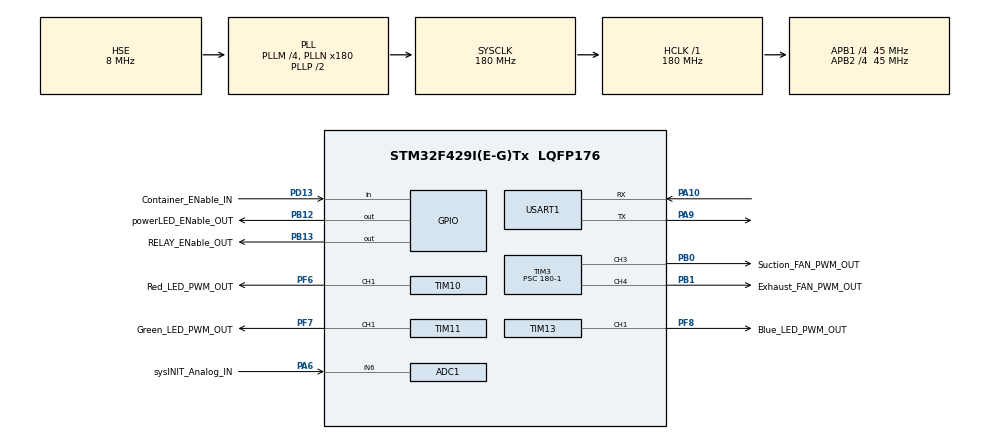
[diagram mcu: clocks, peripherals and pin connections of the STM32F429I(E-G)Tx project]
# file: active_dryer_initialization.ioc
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Mcu.Family=STM32F4
RCC.CortexFreq_Value=180000000
RCC.PWREXT_OverDrive=PWREXT_OverDrive_ACTIVATED
PA6.GPIO_Label=sysINIT_Analog_IN
PB0.GPIO_Label=Suction_FAN_PWM_OUT
PB13.GPIO_Label=RELAY_ENable_OUT
PB13.Signal=GPIO_Output
TIM3.Channel-PWM\ Generation4\ CH4=TIM_CHANNEL_4
TIM13.AutoReloadPreload=TIM_AUTORELOAD_PRELOAD_ENABLE
PF6.GPIO_Label=Red_LED_PWM_OUT
SH.S_TIM13_CH1.0=TIM13_CH1,PWM Generation1 CH1
RCC.SYSCLKSource=RCC_SYSCLKSOURCE_PLLCLK
ProjectManager.StackSize=0x400
PD13.Signal=GPIO_Input
PF7.Signal=S_TIM11_CH1
PH0/OSC_IN.Mode=HSE-External-Oscillator
RCC.HCLKFreq_Value=180000000
RCC.APB2TimFreq_Value=90000000
TIM3.Period=1000-1
VP_TIM10_VS_ClockSourceINT.Mode=Enable_Timer
PB12.PinState=GPIO_PIN_RESET
PH1/OSC_OUT.Signal=RCC_OSC_OUT
RCC.AHBFreq_Value=180000000
TIM3.Pulse-PWM\ Generation3\ CH3=0
TIM10.AutoReloadPreload=TIM_AUTORELOAD_PRELOAD_ENABLE
RCC.HSE_VALUE=8000000
TIM13.Pulse=0
TIM10.Channel=TIM_CHANNEL_1
PB12.GPIO_Label=powerLED_ENable_OUT
PF7.GPIO_Label=Green_LED_PWM_OUT
TIM3.Prescaler=180-1
PB1.GPIO_Label=Exhaust_FAN_PWM_OUT
SH.SharedAnalog_PA6.0=GPIO_Analog
SH.SharedAnalog_PA6.1=ADC1_IN6,IN6
PH1/OSC_OUT.Mode=HSE-External-Oscillator
PD13.GPIO_Label=Container_ENable_IN
Mcu.Package=LQFP176
PA6.Signal=SharedAnalog_PA6
PB1.Signal=S_TIM3_CH4
SH.S_TIM10_CH1.0=TIM10_CH1,PWM Generation1 CH1
PA10.Signal=USART1_RX
PF8.Signal=S_TIM13_CH1
RCC.APB2CLKDivider=RCC_HCLK_DIV4
RCC.APB1TimFreq_Value=90000000
RCC.PWREXT_OverDrive-AdvancedSettings=PWREXT_OverDrive_ACTIVATED
SH.S_TIM11_CH1.0=TIM11_CH1,PWM Generation1 CH1
VP_TIM3_VS_ClockSourceINT.Mode=Internal
RCC.PLLSourceVirtual=RCC_PLLSOURCE_HSE
TIM10.Prescaler=180-1
PA10.Mode=Asynchronous
TIM3.AutoReloadPreload=TIM_AUTORELOAD_PRELOAD_ENABLE
TIM11.Prescaler=180-1
RCC.APB1CLKDivider=RCC_HCLK_DIV4
SH.S_TIM3_CH3.0=TIM3_CH3,PWM Generation3 CH3
VP_TIM11_VS_ClockSourceINT.Mode=Enable_Timer
PF8.GPIO_Label=Blue_LED_PWM_OUT
TIM3.Channel-PWM\ Generation3\ CH3=TIM_CHANNEL_3
PA9.Mode=Asynchronous
PF6.Signal=S_TIM10_CH1
TIM13.Channel=TIM_CHANNEL_1
ProjectManager.TargetToolchain=STM32CubeIDE
PA9.Signal=USART1_TX
ADC1.Channel-1\#ChannelRegularConversion=ADC_CHANNEL_6
RCC.LSE_VALUE=32768
TIM11.Pulse=0
board=custom
RCC.VCOOutputFreq_Value=360000000
TIM13.Period=1000-1
TIM11.Period=1000-1
PB13.GPIO_PuPd=GPIO_NOPULL
TIM10.Period=1000-1
PH0/OSC_IN.Signal=RCC_OSC_IN
VP_TIM13_VS_ClockSourceINT.Mode=Enable_Timer
RCC.APB2Freq_Value=45000000
TIM10.Pulse=0
TIM13.Prescaler=180-1
Mcu.Name=STM32F429I(E-G)Tx
RCC.48MHZClocksFreq_Value=90000000
ADC1.SamplingTime-1\#ChannelRegularConversion=ADC_SAMPLETIME_480CYCLES
RCC.SYSCLKFreq_VALUE=180000000
ADC1.master=1
USART1.VirtualMode=VM_ASYNC
ADC1.Rank-1\#ChannelRegularConversion=1
ProjectManager.HeapSize=0x200
RCC.HSI_VALUE=16000000
TIM11.AutoReloadPreload=TIM_AUTORELOAD_PRELOAD_ENABLE
NVIC.PriorityGroup=NVIC_PRIORITYGROUP_4
ADC1.NbrOfConversionFlag=1
RCC.PLLM=4
RCC.PLLN=180
TIM11.Channel=TIM_CHANNEL_1
PB12.GPIO_PuPd=GPIO_NOPULL
RCC.APB1Freq_Value=45000000
PB0.Signal=S_TIM3_CH3
TIM3.Pulse-PWM\ Generation4\ CH4=0
PB12.Signal=GPIO_Output
SH.S_TIM3_CH4.0=TIM3_CH4,PWM Generation4 CH4

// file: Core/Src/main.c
/* USER CODE BEGIN Header */
/**
 ******************************************************************************
 * @file           : main.c
 * @brief          : Main program body
 ******************************************************************************
 * @attention
 *
 * <h2><center>&copy; Copyright (c) 2021 STMicroelectronics.
 * All rights reserved.</center></h2>
 *
 * This software component is licensed by ST under BSD 3-Clause license,
 * the "License"; You may not use this file except in compliance with the
 * License. You may obtain a copy of the License at:
 *                        opensource.org/licenses/BSD-3-Clause
 *
 ******************************************************************************
 */
/* USER CODE END Header */
#include "main.h"

/* USER CODE BEGIN Includes */
#include <stdio.h>
/* USER CODE END Includes */

ADC_HandleTypeDef hadc1;

TIM_HandleTypeDef htim3;
TIM_HandleTypeDef htim10;
TIM_HandleTypeDef htim11;
TIM_HandleTypeDef htim13;

UART_HandleTypeDef huart1;

/* USER CODE BEGIN PV */
#define FanHandle &htim3
#define RedLedHandle &htim10
#define GreenLedHandle &htim11
#define BlueLedHandle &htim13

char msg[50];
uint8_t size;
uint8_t val;
/* USER CODE END PV */

void SystemClock_Config(void);
static void MX_GPIO_Init(void);
static void MX_ADC1_Init(void);
static void MX_USART1_UART_Init(void);
static void MX_TIM3_Init(void);
static void MX_TIM10_Init(void);
static void MX_TIM11_Init(void);
static void MX_TIM13_Init(void);

/* USER CODE BEGIN 0 */
void Enter_Standby_Mode() {
	//Enter standby mode
	/*clear the WU flag   */
	__HAL_PWR_CLEAR_FLAG(PWR_FLAG_WU);

	//logging the message
	size = sprintf(msg, "Low power standby Mode is On \n\r");
	HAL_UART_Transmit(&huart1, (uint8_t*) msg, size, 1000);

	//finally enter standby mode
	HAL_PWR_EnterSTANDBYMode();
}

/* USER CODE END 0 */

int main(void)
{

  /* MCU Configuration--------------------------------------------------------*/

  /* Reset of all peripherals, Initializes the Flash interface and the Systick. */
  HAL_Init();

  /* Configure the system clock */
  SystemClock_Config();

  /* Initialize all configured peripherals */
  MX_GPIO_Init();
  MX_ADC1_Init();
  MX_USART1_UART_Init();
  MX_TIM3_Init();
  MX_TIM10_Init();
  MX_TIM11_Init();
  MX_TIM13_Init();
  /* USER CODE BEGIN 2 */

	//logging the message
	size = sprintf(msg, "Checking Analog Pin \n\r");
	HAL_UART_Transmit(&huart1, (uint8_t*) msg, size, 1000);

	HAL_ADC_Start(&hadc1);
	HAL_ADC_PollForConversion(&hadc1, 20);
	val = HAL_ADC_GetValue(&hadc1);
	size = sprintf(msg, "The Value is = %u \n\r",val);
	HAL_UART_Transmit(&huart1, (uint8_t*) msg, size, 1000);

	//check if the SB Flag is set//
	if (val > 30) {
		if (__HAL_PWR_GET_FLAG(PWR_FLAG_SB) == 1) {
			//clear the flag
			__HAL_PWR_CLEAR_FLAG(PWR_FLAG_SB);

			//logging the message
			size = sprintf(msg, "Wakeup from the standby Mode \n\r");
			HAL_UART_Transmit(&huart1, (uint8_t*) msg, size, 1000);

			//Enable PowerLed
			HAL_GPIO_WritePin( powerLED_ENable_OUT_GPIO_Port, powerLED_ENable_OUT_Pin, 1);

			//Initalize timers
			size = sprintf(msg, "Initializing Timers \n\r");
			HAL_UART_Transmit(&huart1, (uint8_t*) msg, size, 1000);

			HAL_TIM_PWM_Start(RedLedHandle, TIM_CHANNEL_1);
			HAL_TIM_PWM_Start(BlueLedHandle, TIM_CHANNEL_1);
			HAL_TIM_PWM_Start(GreenLedHandle, TIM_CHANNEL_1);

			//initialize fan timers
			HAL_TIM_PWM_Start(FanHandle, TIM_CHANNEL_3);
			HAL_TIM_PWM_Start(FanHandle, TIM_CHANNEL_4);
		}

		else {
			Enter_Standby_Mode();

		}
	}

  /* USER CODE END 2 */

  /* Infinite loop */
	while (1) {

    /* USER CODE BEGIN 3 */

		//Orange
		size = sprintf(msg, "Drying Mode -> Orange light,Fan ON\n\r");
		HAL_UART_Transmit(&huart1, (uint8_t*) msg, size, 1000);

		__HAL_TIM_SET_COMPARE(RedLedHandle,TIM_CHANNEL_1,900);
		__HAL_TIM_SET_COMPARE(GreenLedHandle,TIM_CHANNEL_1,646);
		__HAL_TIM_SET_COMPARE(BlueLedHandle,TIM_CHANNEL_1,0);

		__HAL_TIM_SET_COMPARE(FanHandle,TIM_CHANNEL_3,999);
		__HAL_TIM_SET_COMPARE(FanHandle,TIM_CHANNEL_4,999);
		HAL_Delay(5000);

		//Green
		size = sprintf(msg, "Standby Mode->Green light, Fan ON\n\r");
		HAL_UART_Transmit(&huart1, (uint8_t*) msg, size, 1000);

		__HAL_TIM_SET_COMPARE(RedLedHandle,TIM_CHANNEL_1,0);
		__HAL_TIM_SET_COMPARE(GreenLedHandle,TIM_CHANNEL_1,999);
		__HAL_TIM_SET_COMPARE(BlueLedHandle,TIM_CHANNEL_1,0);

		__HAL_TIM_SET_COMPARE(FanHandle,TIM_CHANNEL_3,999);
		__HAL_TIM_SET_COMPARE(FanHandle,TIM_CHANNEL_4,999);
		HAL_Delay(5000);

		//Blue
		size = sprintf(msg, "Non-Drying Mode->Blue light, Fan OFF\n\r");
		HAL_UART_Transmit(&huart1, (uint8_t*) msg, size, 1000);

		__HAL_TIM_SET_COMPARE(RedLedHandle,TIM_CHANNEL_1,0);
		__HAL_TIM_SET_COMPARE(GreenLedHandle,TIM_CHANNEL_1,0);
		__HAL_TIM_SET_COMPARE(BlueLedHandle,TIM_CHANNEL_1,999);

		__HAL_TIM_SET_COMPARE(FanHandle,TIM_CHANNEL_3,0);
		__HAL_TIM_SET_COMPARE(FanHandle,TIM_CHANNEL_4,0);
		HAL_Delay(5000);

	}
  /* USER CODE END 3 */
}

void SystemClock_Config(void)
{
  RCC_OscInitTypeDef RCC_OscInitStruct = {0};
  RCC_ClkInitTypeDef RCC_ClkInitStruct = {0};

  /** Configure the main internal regulator output voltage
  */
  __HAL_RCC_PWR_CLK_ENABLE();
  __HAL_PWR_VOLTAGESCALING_CONFIG(PWR_REGULATOR_VOLTAGE_SCALE1);
  /** Initializes the RCC Oscillators according to the specified parameters
  * in the RCC_OscInitTypeDef structure.
  */
  RCC_OscInitStruct.OscillatorType = RCC_OSCILLATORTYPE_HSE;
  RCC_OscInitStruct.HSEState = RCC_HSE_ON;
  RCC_OscInitStruct.PLL.PLLState = RCC_PLL_ON;
  RCC_OscInitStruct.PLL.PLLSource = RCC_PLLSOURCE_HSE;
  RCC_OscInitStruct.PLL.PLLM = 4;
  RCC_OscInitStruct.PLL.PLLN = 180;
  RCC_OscInitStruct.PLL.PLLP = RCC_PLLP_DIV2;
  RCC_OscInitStruct.PLL.PLLQ = 4;
  if (HAL_RCC_OscConfig(&RCC_OscInitStruct) != HAL_OK)
  {
    Error_Handler();
  }
  /** Activate the Over-Drive mode
  */
  if (HAL_PWREx_EnableOverDrive() != HAL_OK)
  {
    Error_Handler();
  }
  /** Initializes the CPU, AHB and APB buses clocks
  */
  RCC_ClkInitStruct.ClockType = RCC_CLOCKTYPE_HCLK|RCC_CLOCKTYPE_SYSCLK
                              |RCC_CLOCKTYPE_PCLK1|RCC_CLOCKTYPE_PCLK2;
  RCC_ClkInitStruct.SYSCLKSource = RCC_SYSCLKSOURCE_PLLCLK;
  RCC_ClkInitStruct.AHBCLKDivider = RCC_SYSCLK_DIV1;
  RCC_ClkInitStruct.APB1CLKDivider = RCC_HCLK_DIV4;
  RCC_ClkInitStruct.APB2CLKDivider = RCC_HCLK_DIV4;

  if (HAL_RCC_ClockConfig(&RCC_ClkInitStruct, FLASH_LATENCY_5) != HAL_OK)
  {
    Error_Handler();
  }
}

static void MX_ADC1_Init(void)
{

  ADC_ChannelConfTypeDef sConfig = {0};

  /** Configure the global features of the ADC (Clock, Resolution, Data Alignment and number of conversion)
  */
  hadc1.Instance = ADC1;
  hadc1.Init.ClockPrescaler = ADC_CLOCK_SYNC_PCLK_DIV2;
  hadc1.Init.Resolution = ADC_RESOLUTION_12B;
  hadc1.Init.ScanConvMode = DISABLE;
  hadc1.Init.ContinuousConvMode = DISABLE;
  hadc1.Init.DiscontinuousConvMode = DISABLE;
  hadc1.Init.ExternalTrigConvEdge = ADC_EXTERNALTRIGCONVEDGE_NONE;
  hadc1.Init.ExternalTrigConv = ADC_SOFTWARE_START;
  hadc1.Init.DataAlign = ADC_DATAALIGN_RIGHT;
  hadc1.Init.NbrOfConversion = 1;
  hadc1.Init.DMAContinuousRequests = DISABLE;
  hadc1.Init.EOCSelection = ADC_EOC_SINGLE_CONV;
  if (HAL_ADC_Init(&hadc1) != HAL_OK)
  {
    Error_Handler();
  }
  /** Configure for the selected ADC regular channel its corresponding rank in the sequencer and its sample time.
  */
  sConfig.Channel = ADC_CHANNEL_6;
  sConfig.Rank = 1;
  sConfig.SamplingTime = ADC_SAMPLETIME_480CYCLES;
  if (HAL_ADC_ConfigChannel(&hadc1, &sConfig) != HAL_OK)
  {
    Error_Handler();
  }

}

static void MX_TIM3_Init(void)
{

  TIM_ClockConfigTypeDef sClockSourceConfig = {0};
  TIM_MasterConfigTypeDef sMasterConfig = {0};
  TIM_OC_InitTypeDef sConfigOC = {0};

  htim3.Instance = TIM3;
  htim3.Init.Prescaler = 180-1;
  htim3.Init.CounterMode = TIM_COUNTERMODE_UP;
  htim3.Init.Period = 1000-1;
  htim3.Init.ClockDivision = TIM_CLOCKDIVISION_DIV1;
  htim3.Init.AutoReloadPreload = TIM_AUTORELOAD_PRELOAD_ENABLE;
  if (HAL_TIM_Base_Init(&htim3) != HAL_OK)
  {
    Error_Handler();
  }
  sClockSourceConfig.ClockSource = TIM_CLOCKSOURCE_INTERNAL;
  if (HAL_TIM_ConfigClockSource(&htim3, &sClockSourceConfig) != HAL_OK)
  {
    Error_Handler();
  }
  if (HAL_TIM_PWM_Init(&htim3) != HAL_OK)
  {
    Error_Handler();
  }
  sMasterConfig.MasterOutputTrigger = TIM_TRGO_RESET;
  sMasterConfig.MasterSlaveMode = TIM_MASTERSLAVEMODE_DISABLE;
  if (HAL_TIMEx_MasterConfigSynchronization(&htim3, &sMasterConfig) != HAL_OK)
  {
    Error_Handler();
  }
  sConfigOC.OCMode = TIM_OCMODE_PWM1;
  sConfigOC.Pulse = 0;
  sConfigOC.OCPolarity = TIM_OCPOLARITY_HIGH;
  sConfigOC.OCFastMode = TIM_OCFAST_DISABLE;
  if (HAL_TIM_PWM_ConfigChannel(&htim3, &sConfigOC, TIM_CHANNEL_3) != HAL_OK)
  {
    Error_Handler();
  }
  if (HAL_TIM_PWM_ConfigChannel(&htim3, &sConfigOC, TIM_CHANNEL_4) != HAL_OK)
  {
    Error_Handler();
  }
  HAL_TIM_MspPostInit(&htim3);

}

static void MX_TIM10_Init(void)
{

  TIM_OC_InitTypeDef sConfigOC = {0};

  htim10.Instance = TIM10;
  htim10.Init.Prescaler = 180-1;
  htim10.Init.CounterMode = TIM_COUNTERMODE_UP;
  htim10.Init.Period = 1000-1;
  htim10.Init.ClockDivision = TIM_CLOCKDIVISION_DIV1;
  htim10.Init.AutoReloadPreload = TIM_AUTORELOAD_PRELOAD_ENABLE;
  if (HAL_TIM_Base_Init(&htim10) != HAL_OK)
  {
    Error_Handler();
  }
  if (HAL_TIM_PWM_Init(&htim10) != HAL_OK)
  {
    Error_Handler();
  }
  sConfigOC.OCMode = TIM_OCMODE_PWM1;
  sConfigOC.Pulse = 0;
  sConfigOC.OCPolarity = TIM_OCPOLARITY_HIGH;
  sConfigOC.OCFastMode = TIM_OCFAST_DISABLE;
  if (HAL_TIM_PWM_ConfigChannel(&htim10, &sConfigOC, TIM_CHANNEL_1) != HAL_OK)
  {
    Error_Handler();
  }
  HAL_TIM_MspPostInit(&htim10);

}

static void MX_TIM11_Init(void)
{

  TIM_OC_InitTypeDef sConfigOC = {0};

  htim11.Instance = TIM11;
  htim11.Init.Prescaler = 180-1;
  htim11.Init.CounterMode = TIM_COUNTERMODE_UP;
  htim11.Init.Period = 1000-1;
  htim11.Init.ClockDivision = TIM_CLOCKDIVISION_DIV1;
  htim11.Init.AutoReloadPreload = TIM_AUTORELOAD_PRELOAD_ENABLE;
  if (HAL_TIM_Base_Init(&htim11) != HAL_OK)
  {
    Error_Handler();
  }
  if (HAL_TIM_PWM_Init(&htim11) != HAL_OK)
  {
    Error_Handler();
  }
  sConfigOC.OCMode = TIM_OCMODE_PWM1;
  sConfigOC.Pulse = 0;
  sConfigOC.OCPolarity = TIM_OCPOLARITY_HIGH;
  sConfigOC.OCFastMode = TIM_OCFAST_DISABLE;
  if (HAL_TIM_PWM_ConfigChannel(&htim11, &sConfigOC, TIM_CHANNEL_1) != HAL_OK)
  {
    Error_Handler();
  }
  HAL_TIM_MspPostInit(&htim11);

}

static void MX_TIM13_Init(void)
{

  TIM_OC_InitTypeDef sConfigOC = {0};

  htim13.Instance = TIM13;
  htim13.Init.Prescaler = 180-1;
  htim13.Init.CounterMode = TIM_COUNTERMODE_UP;
  htim13.Init.Period = 1000-1;
  htim13.Init.ClockDivision = TIM_CLOCKDIVISION_DIV1;
  htim13.Init.AutoReloadPreload = TIM_AUTORELOAD_PRELOAD_ENABLE;
  if (HAL_TIM_Base_Init(&htim13) != HAL_OK)
  {
    Error_Handler();
  }
  if (HAL_TIM_PWM_Init(&htim13) != HAL_OK)
  {
    Error_Handler();
  }
  sConfigOC.OCMode = TIM_OCMODE_PWM1;
  sConfigOC.Pulse = 0;
  sConfigOC.OCPolarity = TIM_OCPOLARITY_HIGH;
  sConfigOC.OCFastMode = TIM_OCFAST_DISABLE;
  if (HAL_TIM_PWM_ConfigChannel(&htim13, &sConfigOC, TIM_CHANNEL_1) != HAL_OK)
  {
    Error_Handler();
  }
  HAL_TIM_MspPostInit(&htim13);

}

static void MX_USART1_UART_Init(void)
{

  huart1.Instance = USART1;
  huart1.Init.BaudRate = 115200;
  huart1.Init.WordLength = UART_WORDLENGTH_8B;
  huart1.Init.StopBits = UART_STOPBITS_1;
  huart1.Init.Parity = UART_PARITY_NONE;
  huart1.Init.Mode = UART_MODE_TX_RX;
  huart1.Init.HwFlowCtl = UART_HWCONTROL_NONE;
  huart1.Init.OverSampling = UART_OVERSAMPLING_16;
  if (HAL_UART_Init(&huart1) != HAL_OK)
  {
    Error_Handler();
  }

}

static void MX_GPIO_Init(void)
{
  GPIO_InitTypeDef GPIO_InitStruct = {0};

  /* GPIO Ports Clock Enable */
  __HAL_RCC_GPIOF_CLK_ENABLE();
  __HAL_RCC_GPIOH_CLK_ENABLE();
  __HAL_RCC_GPIOA_CLK_ENABLE();
  __HAL_RCC_GPIOB_CLK_ENABLE();
  __HAL_RCC_GPIOD_CLK_ENABLE();

  /*Configure GPIO pin Output Level */
  HAL_GPIO_WritePin(GPIOB, powerLED_ENable_OUT_Pin|RELAY_ENable_OUT_Pin, GPIO_PIN_RESET);

  /*Configure GPIO pins : powerLED_ENable_OUT_Pin RELAY_ENable_OUT_Pin */
  GPIO_InitStruct.Pin = powerLED_ENable_OUT_Pin|RELAY_ENable_OUT_Pin;
  GPIO_InitStruct.Mode = GPIO_MODE_OUTPUT_PP;
  GPIO_InitStruct.Pull = GPIO_NOPULL;
  GPIO_InitStruct.Speed = GPIO_SPEED_FREQ_LOW;
  HAL_GPIO_Init(GPIOB, &GPIO_InitStruct);

  /*Configure GPIO pin : Container_ENable_IN_Pin */
  GPIO_InitStruct.Pin = Container_ENable_IN_Pin;
  GPIO_InitStruct.Mode = GPIO_MODE_INPUT;
  GPIO_InitStruct.Pull = GPIO_NOPULL;
  HAL_GPIO_Init(Container_ENable_IN_GPIO_Port, &GPIO_InitStruct);

}

void Error_Handler(void)
{
	__disable_irq();
	while (1) {
	}
}

/************************ (C) COPYRIGHT STMicroelectronics *****END OF FILE****/
